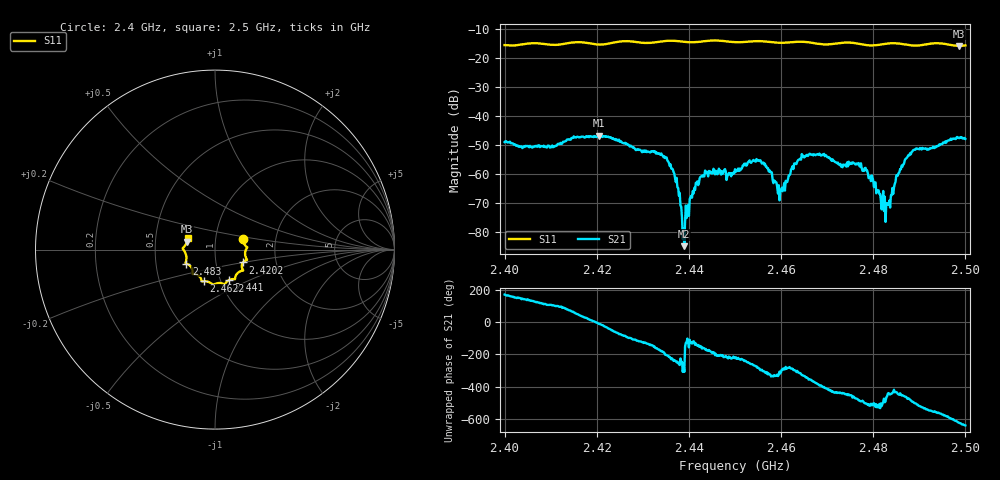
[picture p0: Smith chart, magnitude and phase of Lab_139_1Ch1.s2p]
# Hz S RI R 50
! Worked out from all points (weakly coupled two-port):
!   601 points, 2.4 GHz to 2.5 GHz, reference 50 ohm
!   highest |S21| = -46.68 dB at 2.4205 GHz (marker M1); lowest = -84.8 dB at 2.439 GHz (marker M2)
!   lowest |S11| = -15.8 dB at 2.4987 GHz (marker M3), VSWR 1.39, Z = 36.4 + j3.34 ohm
!   |S11| at or under -10 dB: start of sweep to end of sweep
!   S12 and S22 are empty: the file has one direction only
!   S11 on the Smith chart (normalised r, x): 2.4 GHz: 1.36, +0.17; 2.4202 GHz: 1.35, -0.20; 2.441 GHz: 1.09, -0.39; 2.4622 GHz: 0.83, -0.30; 2.483 GHz: 0.72, -0.12; 2.5 GHz: 0.73, +0.09
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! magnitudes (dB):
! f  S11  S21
! 2.4 GHz  -15.5  -48.9
! 2.4103 GHz  -15.5  -50.1
! 2.4167 GHz  -14.6  -47.1
! 2.4202 GHz  -15.3  -47.1
! 2.4205 GHz  -15.3  -46.7
! 2.4333 GHz  -14.4  -52.9
! 2.4368 GHz  -14.1  -59.8
! 2.439 GHz  -14.4  -84.8
! 2.441 GHz  -14.6  -66.6
! 2.444 GHz  -14.1  -59.2
! 2.45 GHz  -14.5  -58.3
! 2.4552 GHz  -14.2  -55.3
! 2.4598 GHz  -14.7  -65.9
! 2.4622 GHz  -14.5  -58.4
! 2.4667 GHz  -14.7  -53.2
! 2.4768 GHz  -15.1  -56.1
! 2.483 GHz  -15.0  -70.0
! 2.4833 GHz  -15.0  -70.6
! 2.4855 GHz  -15.0  -59.6
! 2.4885 GHz  -15.7  -52.2
! 2.4987 GHz  -15.8  -47.6
! 2.5 GHz  -15.6  -47.8
